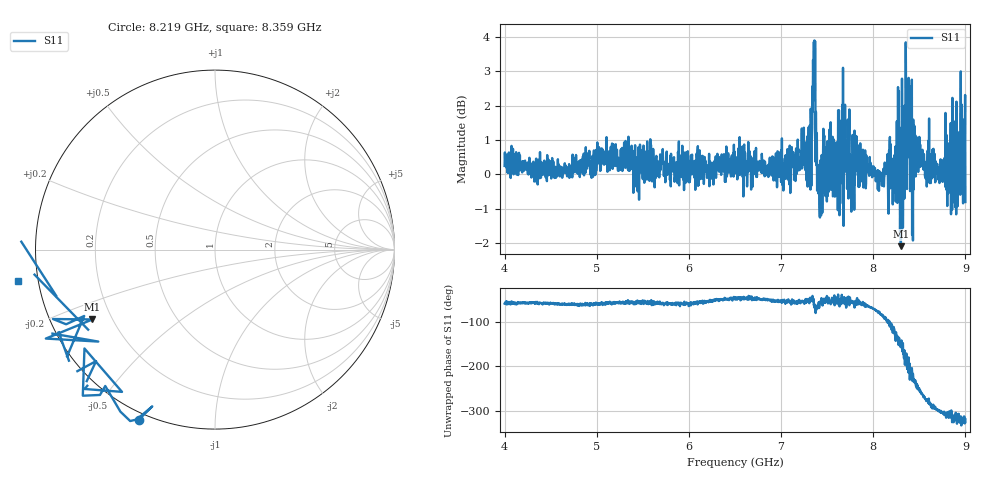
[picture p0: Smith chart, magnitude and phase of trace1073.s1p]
! Created with skrf 1.8.0 (http://scikit-rf.org).
# Hz S RI R 50.0
!freq ReS11 ImS11
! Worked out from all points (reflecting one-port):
!   1601 points, 4 GHz to 9 GHz, reference 50 ohm
!   lowest |S11| = -2.1 dB at 8.3 GHz (marker M1), VSWR 8.33, Z = 6.42 - j13 ohm
!   phase of S11 starts at -59 deg and turns -261 deg over the sweep
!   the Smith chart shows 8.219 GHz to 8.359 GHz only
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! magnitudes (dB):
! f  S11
! 4 GHz  0.2
! 4.625 GHz  -0.1
! 5.25 GHz  0.3
! 5.875 GHz  0.1
! 6.5 GHz  0.4
! 7.125 GHz  0.4
! 7.294 GHz  0.6
! 7.356 GHz  3.9
! 7.372 GHz  2.6
! 7.397 GHz  0.3
! 7.416 GHz  -0.9
! 7.478 GHz  0.3
! 7.591 GHz  0.6
! 7.669 GHz  1.6
! 7.75 GHz  0.2
! 8.097 GHz  0.0
! 8.225 GHz  0.4
! 8.262 GHz  -0.8
! 8.3 GHz  -2.1
! 8.316 GHz  0.4
! 8.334 GHz  2.0
! 8.375 GHz  0.8
! 8.447 GHz  1.4
! 8.459 GHz  -0.1
! 8.697 GHz  0.0
! 8.919 GHz  -0.1
! 8.972 GHz  0.0
! 9 GHz  -0.8
